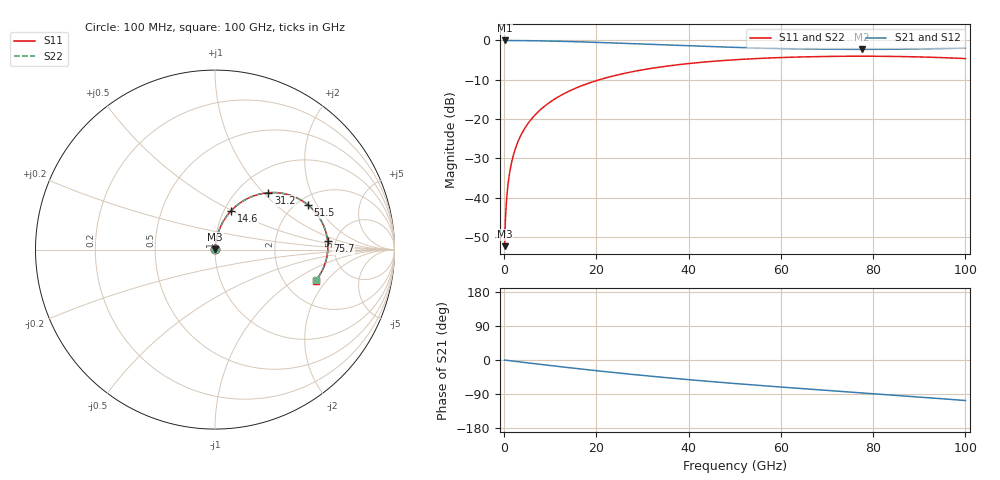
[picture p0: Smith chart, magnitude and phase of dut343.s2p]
! Touchstone file exported from HFSS 2026.1.0
!  File:  C:/ffzhzh/LocalFiles/Ansys_Project_Files/temp_train_RDL_343_1783503089_41296.aedt
!  Generated:  05:32:52 PM Jul  8, 2026
!  Design:  RDL
!  Project:  temp_train_RDL_343_1783503089_41296
! Variables:
!  h_bsmrdl = 2um
!  h_ox = 20um
!  h_rdl = 5um
!  h_sub = 80um
!  h_tmrdl = 4.39um
!  h_tsv = 80um
!  h_via = 3um
!  l_bsmrdl = 300um
!  l_sub = 752.96um
!  l_tmrdl = 352.96um
!  m_sub = 200um
!  pitch = 56.87um
!  r_tsv = 6um
!  s_tmrdl = 10um
!  w_bsmrdl = 18um
!  w_sub = 500um
!  w_tmrdl = 20um
!  x_tsv_center1 = 362.96um
!  x_tsv_center2 = 680.96um
!  x_tsv_center3 = 1053.92um
!  x_tsv_center4 = 1371.92um
!  x_tsv_center5 = 1744.88um
!  x_tsv_center6 = 2062.88um
# GHz S MA R 50.000000
! Terminal data exported
! Port[1] = TM_RDL1_1_T1
! Port[2] = TM_RDL1_1_T2
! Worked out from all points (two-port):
!   1000 points, 100 MHz to 100 GHz, reference 50 ohm
!   highest |S21| = -0.01 dB at 100 MHz (marker M1); lowest = -2.3 dB at 77.5 GHz (marker M2)
!   |S21| within 3 dB of the highest: start of sweep to end of sweep
!   lowest |S11| = -52.3 dB at 100 MHz (marker M3), VSWR 1.00, Z = 50.2 + j0.183 ohm
!   |S11| at or under -10 dB: start of sweep to 20.66 GHz
!   |S22| runs from -52.3 to -4.0 dB; largest |S21 - S12| = 1.4e-14
!   S11 on the Smith chart (normalised r, x): 100 MHz: 1.00, +0.00; 14.6 GHz: 1.08, +0.49; 31.2 GHz: 1.36, +1.06; 51.5 GHz: 2.27, +1.69; 75.7 GHz: 4.28, +0.67; 100 GHz: 2.94, -1.55
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0.1  0.002415 49.2  0.9984 -0.2  0.9984 -0.2  0.002415 49.2
! Gamma 0 0 0 0
! Port Impedance 50 0 50 0
0.8  0.01407 81.1  0.998 -1.2  0.998 -1.2  0.01407 81.1
1  0.01748 82.1  0.9979 -1.5  0.9979 -1.5  0.01748 82.1
1.3  0.02262 82.9  0.9977 -2.0  0.9977 -2.0  0.02262 83.0
1.7  0.02946 83.3  0.9974 -2.5  0.9974 -2.5  0.02946 83.3
2.2  0.03799 83.3  0.997 -3.3  0.997 -3.3  0.03799 83.3
3.5  0.05998 82.1  0.9954 -5.2  0.9954 -5.2  0.05998 82.1
5.4  0.09151 79.7  0.9922 -8.0  0.9922 -8.0  0.09151 79.8
7.8  0.1303 76.6  0.987 -11.5  0.987 -11.5  0.1303 76.6
10.9  0.1787 72.4  0.9785 -15.9  0.9785 -15.9  0.1787 72.4
14.6  0.2337 67.5  0.9662 -21.0  0.9662 -21.0  0.2337 67.5
16.8  0.2649 64.6  0.9578 -24.0  0.9578 -24.0  0.2649 64.6
23.3  0.3489 56.3  0.9299 -32.5  0.9299 -32.5  0.3489 56.3
31.2  0.4341 46.9  0.893 -42.1  0.893 -42.1  0.4341 46.9
33.4  0.4545 44.4  0.8828 -44.6  0.8828 -44.6  0.4545 44.4
50.1  0.5677 27.1  0.8151 -62.1  0.8151 -62.1  0.5677 27.2
51.5  0.5742 25.8  0.8106 -63.5  0.8106 -63.5  0.5742 25.8
66.7  0.6204 12.0  0.7764 -77.4  0.7764 -77.4  0.6204 12.1
75.7  0.6292 4.3  0.7694 -85.2  0.7694 -85.2  0.6292 4.4
77.5  0.6294 2.7  0.7692 -86.8  0.7692 -86.8  0.6294 2.8
83.4  0.6264 -2.3  0.7714 -91.9  0.7714 -91.9  0.6265 -2.2
100  0.5868 -17.1  0.8005 -107.0  0.8005 -107.0  0.5869 -17.0
